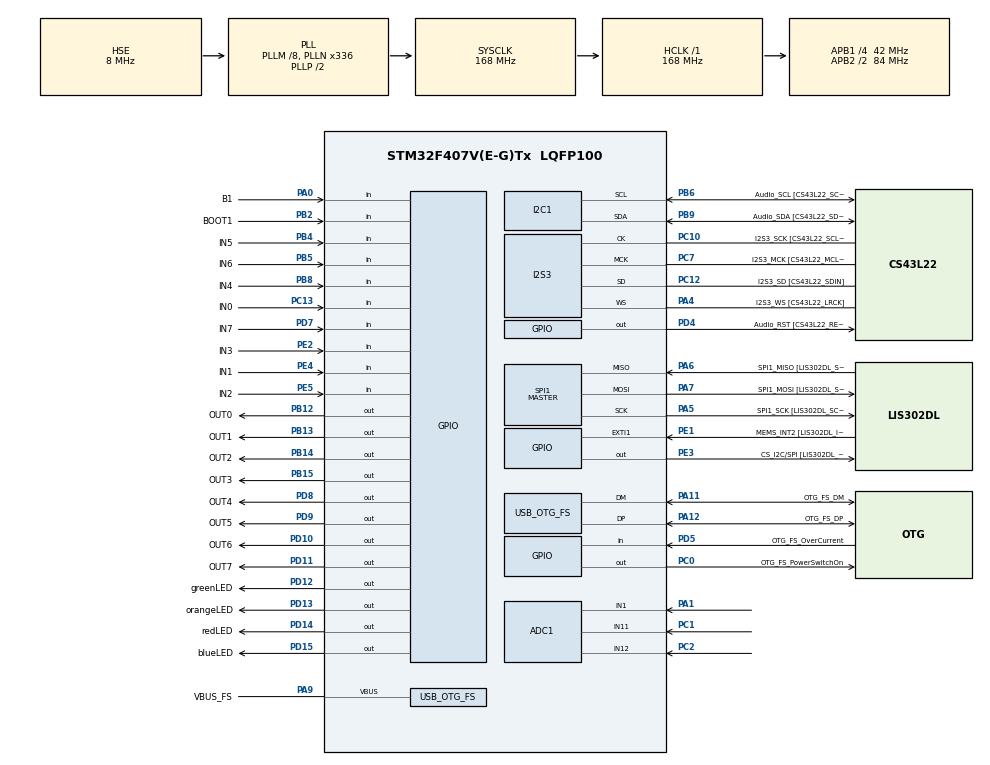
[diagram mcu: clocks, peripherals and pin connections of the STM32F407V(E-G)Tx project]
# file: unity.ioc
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ADC1.Channel-0\#ChannelRegularConversion=ADC_CHANNEL_1
ADC1.Channel-1\#ChannelRegularConversion=ADC_CHANNEL_11
ADC1.Channel-2\#ChannelRegularConversion=ADC_CHANNEL_12
ADC1.ContinuousConvMode=ENABLE
ADC1.DMAContinuousRequests=ENABLE
ADC1.NbrOfConversion=3
ADC1.NbrOfConversionFlag=1
ADC1.Rank-0\#ChannelRegularConversion=1
ADC1.Rank-1\#ChannelRegularConversion=2
ADC1.Rank-2\#ChannelRegularConversion=3
ADC1.SamplingTime-0\#ChannelRegularConversion=ADC_SAMPLETIME_84CYCLES
ADC1.SamplingTime-1\#ChannelRegularConversion=ADC_SAMPLETIME_84CYCLES
ADC1.SamplingTime-2\#ChannelRegularConversion=ADC_SAMPLETIME_84CYCLES
ADC1.master=1
Dma.ADC1.0.Direction=DMA_PERIPH_TO_MEMORY
Dma.ADC1.0.FIFOMode=DMA_FIFOMODE_ENABLE
Dma.ADC1.0.FIFOThreshold=DMA_FIFO_THRESHOLD_FULL
Dma.ADC1.0.Instance=DMA2_Stream0
Dma.ADC1.0.MemBurst=DMA_MBURST_SINGLE
Dma.ADC1.0.MemDataAlignment=DMA_MDATAALIGN_HALFWORD
Dma.ADC1.0.MemInc=DMA_MINC_ENABLE
Dma.ADC1.0.Mode=DMA_CIRCULAR
Dma.ADC1.0.PeriphBurst=DMA_PBURST_SINGLE
Dma.ADC1.0.PeriphDataAlignment=DMA_PDATAALIGN_HALFWORD
Dma.ADC1.0.PeriphInc=DMA_PINC_DISABLE
Dma.ADC1.0.Priority=DMA_PRIORITY_LOW
Dma.Request0=ADC1
I2S3.AudioFreq-Half_Duplex_Master=I2S_AUDIOFREQ_96K
I2S3.ErrorAudioFreq=-2.34 %
I2S3.ErrorAudioFreq-Half_Duplex_Master=0.8 %
I2S3.FullDuplexMode=I2S_FULLDUPLEXMODE_DISABLE
I2S3.Instance=SPI$Index
I2S3.RealAudioFreq=93.75 KHz
I2S3.RealAudioFreq-Half_Duplex_Master=96.774 KHz
I2S3.VirtualMode=I2S_MODE_MASTER
Mcu.Family=STM32F4
Mcu.Name=STM32F407V(E-G)Tx
Mcu.Package=LQFP100
NVIC.DMA2_Stream0_IRQn=true\:0\:0\:false\:false\:true\:false\:true
NVIC.OTG_FS_IRQn=true\:0\:0\:false\:false\:true\:true\:true
NVIC.PriorityGroup=NVIC_PRIORITYGROUP_0
PA0-WKUP.GPIO_Label=B1
PA0-WKUP.Signal=GPIO_Input
PA1.Signal=ADCx_IN1
PA10.GPIO_Label=OTG_FS_ID
PA10.GPIO_Mode=GPIO_MODE_AF_PP
PA10.GPIO_PuPd=GPIO_NOPULL
PA10.GPIO_Speed=GPIO_SPEED_FREQ_LOW
PA10.Signal=USB_OTG_FS_ID
PA11.GPIO_Label=OTG_FS_DM
PA11.GPIO_Mode=GPIO_MODE_AF_PP
PA11.GPIO_PuPd=GPIO_NOPULL
PA11.GPIO_Speed=GPIO_SPEED_FREQ_LOW
PA11.Mode=Device_Only
PA11.Signal=USB_OTG_FS_DM
PA12.GPIO_Label=OTG_FS_DP
PA12.GPIO_Mode=GPIO_MODE_AF_PP
PA12.GPIO_PuPd=GPIO_NOPULL
PA12.GPIO_Speed=GPIO_SPEED_FREQ_LOW
PA12.Mode=Device_Only
PA12.Signal=USB_OTG_FS_DP
PA13.GPIO_Label=SWDIO
PA13.Mode=Serial_Wire
PA13.Signal=SYS_JTMS-SWDIO
PA14.GPIO_Label=SWCLK
PA14.Mode=Serial_Wire
PA14.Signal=SYS_JTCK-SWCLK
PA4.GPIO_Label=I2S3_WS [CS43L22_LRCK]
PA4.GPIO_Mode=GPIO_MODE_AF_PP
PA4.GPIO_PuPd=GPIO_NOPULL
PA4.GPIO_Speed=GPIO_SPEED_FREQ_LOW
PA4.Mode=Half_Duplex_Master
PA4.Signal=I2S3_WS
PA5.GPIO_Label=SPI1_SCK [LIS302DL_SCL/SPC]
PA5.GPIO_Mode=GPIO_MODE_AF_PP
PA5.GPIO_PuPd=GPIO_NOPULL
PA5.GPIO_Speed=GPIO_SPEED_FREQ_LOW
PA5.Mode=Full_Duplex_Master
PA5.Signal=SPI1_SCK
PA6.GPIO_Label=SPI1_MISO [LIS302DL_SDO]
PA6.GPIO_Mode=GPIO_MODE_AF_PP
PA6.GPIO_PuPd=GPIO_NOPULL
PA6.GPIO_Speed=GPIO_SPEED_FREQ_LOW
PA6.Mode=Full_Duplex_Master
PA6.Signal=SPI1_MISO
PA7.GPIO_Label=SPI1_MOSI [LIS302DL_SDA/SDI/SDO]
PA7.GPIO_Mode=GPIO_MODE_AF_PP
PA7.GPIO_PuPd=GPIO_NOPULL
PA7.GPIO_Speed=GPIO_SPEED_FREQ_LOW
PA7.Mode=Full_Duplex_Master
PA7.Signal=SPI1_MOSI
PA9.GPIO_Label=VBUS_FS
PA9.GPIO_Mode=GPIO_MODE_INPUT
PA9.GPIO_PuPd=GPIO_NOPULL
PA9.Mode=Activate_VBUS
PA9.Signal=USB_OTG_FS_VBUS
PB10.GPIO_Label=CLK_IN [MP45DT02_CLK]
PB10.GPIO_Mode=GPIO_MODE_AF_PP
PB10.GPIO_PuPd=GPIO_NOPULL
PB10.GPIO_Speed=GPIO_SPEED_FREQ_LOW
PB10.Signal=I2S2_CK
PB12.GPIO_Label=OUT0
PB12.Signal=GPIO_Output
PB13.GPIO_Label=OUT1
PB13.Signal=GPIO_Output
PB14.GPIO_Label=OUT2
PB14.Signal=GPIO_Output
PB15.GPIO_Label=OUT3
PB15.Signal=GPIO_Output
PB2.GPIO_Label=BOOT1
PB2.GPIO_Mode=GPIO_MODE_INPUT
PB2.GPIO_PuPd=GPIO_NOPULL
PB2.Signal=GPIO_Input
PB3.GPIO_Label=SWO
PB3.Signal=SYS_JTDO-SWO
PB4.GPIO_Label=IN5
PB4.Signal=GPIO_Input
PB5.GPIO_Label=IN6
PB5.Signal=GPIO_Input
PB6.GPIO_Label=Audio_SCL [CS43L22_SCL]
PB6.GPIO_Mode=GPIO_MODE_AF_OD
PB6.GPIO_PuPd=GPIO_NOPULL
PB6.GPIO_Speed=GPIO_SPEED_FREQ_LOW
PB6.Mode=I2C
PB6.Signal=I2C1_SCL
PB8.GPIO_Label=IN4
PB8.Signal=GPIO_Input
PB9.GPIO_Label=Audio_SDA [CS43L22_SDA]
PB9.GPIO_Mode=GPIO_MODE_AF_OD
PB9.GPIO_PuPd=GPIO_NOPULL
PB9.GPIO_Speed=GPIO_SPEED_FREQ_LOW
PB9.Mode=I2C
PB9.Signal=I2C1_SDA
PC0.GPIO_Label=OTG_FS_PowerSwitchOn
PC0.GPIO_PuPd=GPIO_NOPULL
PC0.GPIO_Speed=GPIO_SPEED_FREQ_LOW
PC0.PinState=GPIO_PIN_SET
PC0.Signal=GPIO_Output
PC1.Signal=ADCx_IN11
PC10.GPIO_Label=I2S3_SCK [CS43L22_SCLK]
PC10.GPIO_Mode=GPIO_MODE_AF_PP
PC10.GPIO_PuPd=GPIO_NOPULL
PC10.GPIO_Speed=GPIO_SPEED_FREQ_LOW
PC10.Mode=Half_Duplex_Master
PC10.Signal=I2S3_CK
PC12.GPIO_Label=I2S3_SD [CS43L22_SDIN]
PC12.GPIO_Mode=GPIO_MODE_AF_PP
PC12.GPIO_PuPd=GPIO_NOPULL
PC12.GPIO_Speed=GPIO_SPEED_FREQ_LOW
PC12.Mode=Half_Duplex_Master
PC12.Signal=I2S3_SD
PC13-ANTI_TAMP.GPIO_Label=IN0
PC13-ANTI_TAMP.Signal=GPIO_Input
PC14-OSC32_IN.GPIO_Label=PC14-OSC32_IN
PC14-OSC32_IN.Mode=LSE-External-Oscillator
PC14-OSC32_IN.Signal=RCC_OSC32_IN
PC15-OSC32_OUT.GPIO_Label=PC15-OSC32_OUT
PC15-OSC32_OUT.Mode=LSE-External-Oscillator
PC15-OSC32_OUT.Signal=RCC_OSC32_OUT
PC2.Signal=ADCx_IN12
PC3.GPIO_Label=PDM_OUT [MP45DT02_DOUT]
PC3.GPIO_Mode=GPIO_MODE_AF_PP
PC3.GPIO_PuPd=GPIO_NOPULL
PC3.GPIO_Speed=GPIO_SPEED_FREQ_LOW
PC3.Signal=I2S2_SD
PC7.GPIO_Label=I2S3_MCK [CS43L22_MCLK]
PC7.GPIO_Mode=GPIO_MODE_AF_PP
PC7.GPIO_PuPd=GPIO_NOPULL
PC7.GPIO_Speed=GPIO_SPEED_FREQ_LOW
PC7.Mode=Master_Clock_Activated
PC7.Signal=I2S3_MCK
PD10.GPIO_Label=OUT6
PD10.Signal=GPIO_Output
PD11.GPIO_Label=OUT7
PD11.Signal=GPIO_Output
PD12.GPIO_Label=greenLED
PD12.GPIO_PuPd=GPIO_NOPULL
PD12.GPIO_Speed=GPIO_SPEED_FREQ_LOW
PD12.Signal=GPIO_Output
PD13.GPIO_Label=orangeLED
PD13.GPIO_PuPd=GPIO_NOPULL
PD13.GPIO_Speed=GPIO_SPEED_FREQ_LOW
PD13.Signal=GPIO_Output
PD14.GPIO_Label=redLED
PD14.GPIO_PuPd=GPIO_NOPULL
PD14.GPIO_Speed=GPIO_SPEED_FREQ_LOW
PD14.Signal=GPIO_Output
PD15.GPIO_Label=blueLED
PD15.Signal=GPIO_Output
PD4.GPIO_Label=Audio_RST [CS43L22_RESET]
PD4.GPIO_PuPd=GPIO_NOPULL
PD4.GPIO_Speed=GPIO_SPEED_FREQ_LOW
PD4.Signal=GPIO_Output
PD5.GPIO_Label=OTG_FS_OverCurrent
PD5.GPIO_Mode=GPIO_MODE_INPUT
PD5.GPIO_PuPd=GPIO_NOPULL
PD5.Signal=GPIO_Input
PD7.GPIO_Label=IN7
PD7.Signal=GPIO_Input
PD8.GPIO_Label=OUT4
PD8.Signal=GPIO_Output
PD9.GPIO_Label=OUT5
PD9.Signal=GPIO_Output
PE1.GPIO_Label=MEMS_INT2 [LIS302DL_INT2]
PE1.GPIO_ModeDefaultEXTI=GPIO_MODE_EVT_RISING
PE1.GPIO_PuPd=GPIO_NOPULL
PE1.Signal=GPXTI1
PE2.GPIO_Label=IN3
PE2.Signal=GPIO_Input
PE3.GPIO_Label=CS_I2C/SPI [LIS302DL_CS_I2C/SPI]
PE3.GPIO_PuPd=GPIO_NOPULL
PE3.GPIO_Speed=GPIO_SPEED_FREQ_LOW
PE3.Signal=GPIO_Output
PE4.GPIO_Label=IN1
PE4.Signal=GPIO_Input
PE5.GPIO_Label=IN2
PE5.Signal=GPIO_Input
PH0-OSC_IN.GPIO_Label=PH0-OSC_IN
PH0-OSC_IN.Mode=HSE-External-Oscillator
PH0-OSC_IN.Signal=RCC_OSC_IN
PH1-OSC_OUT.GPIO_Label=PH1-OSC_OUT
PH1-OSC_OUT.Mode=HSE-External-Oscillator
PH1-OSC_OUT.Signal=RCC_OSC_OUT
ProjectManager.HeapSize=0x200
ProjectManager.StackSize=0x400
ProjectManager.TargetToolchain=STM32CubeIDE
RCC.48MHZClocksFreq_Value=48000000
RCC.AHBFreq_Value=168000000
RCC.APB1CLKDivider=RCC_HCLK_DIV4
RCC.APB1Freq_Value=42000000
RCC.APB1TimFreq_Value=84000000
RCC.APB2CLKDivider=RCC_HCLK_DIV2
RCC.APB2Freq_Value=84000000
RCC.APB2TimFreq_Value=168000000
RCC.CortexFreq_Value=168000000
RCC.HCLKFreq_Value=168000000
RCC.HSE_VALUE=8000000
RCC.HSI_VALUE=16000000
RCC.PLLM=8
RCC.PLLN=336
RCC.PLLQ=7
RCC.SYSCLKFreq_VALUE=168000000
RCC.SYSCLKSource=RCC_SYSCLKSOURCE_PLLCLK
RCC.VCOOutputFreq_Value=336000000
SH.ADCx_IN1.0=ADC1_IN1,IN1
SH.ADCx_IN11.0=ADC1_IN11,IN11
SH.ADCx_IN12.0=ADC1_IN12,IN12
SPI1.BaudRatePrescaler-Full_Duplex_Master=SPI_BAUDRATEPRESCALER_2
SPI1.CalculateBaudRate-Full_Duplex_Master=42.0 MBits/s
SPI1.Direction=SPI_DIRECTION_2LINES
SPI1.Mode=SPI_MODE_MASTER
SPI1.Mode-Full_Duplex_Master=SPI_MODE_MASTER
SPI1.VirtualType=VM_MASTER
USB_DEVICE.CLASS_NAME_FS=CDC
USB_DEVICE.VirtualMode-CDC_FS=Cdc
USB_DEVICE.VirtualModeFS=Cdc_FS
USB_OTG_FS.VirtualMode=Device_Only
VP_USB_DEVICE_VS_USB_DEVICE_CDC_FS.Mode=CDC_FS
board=STM32F407G-DISC1

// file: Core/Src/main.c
/* USER CODE BEGIN Header */
/**
  ******************************************************************************
  * @file           : main.c
  * @brief          : Main program body
  ******************************************************************************
  * @attention
  *
  * <h2><center>&copy; Copyright (c) 2020 STMicroelectronics.
  * All rights reserved.</center></h2>
  *
  * This software component is licensed by ST under Ultimate Liberty license
  * SLA0044, the "License"; You may not use this file except in compliance with
  * the License. You may obtain a copy of the License at:
  *                             www.st.com/SLA0044
  *
  ******************************************************************************
  */
/* USER CODE END Header */
#include "main.h"
#include "usb_device.h"

/* USER CODE BEGIN Includes */
#include "stm32f4_discovery_accelerometer.h"
#include "usbd_cdc.h"
#include "usbd_cdc_if.h"
/* USER CODE END Includes */

ADC_HandleTypeDef hadc1;
DMA_HandleTypeDef hdma_adc1;

I2C_HandleTypeDef hi2c1;

I2S_HandleTypeDef hi2s3;

SPI_HandleTypeDef hspi1;

/* USER CODE BEGIN PV */

int16_t XYZ[3] = { 0 };
uint16_t adcValues[3];
int8_t inputPort[8];

#define packetLength  44
#define rxSerialBytes 18
int16_t rxUSB = 15;
uint8_t packet[packetLength+1] = {0}; //null needed at end for string function
int8_t rxBuf[rxSerialBytes] = {0};

uint32_t currentTicks = 0;
uint8_t packetTxTime = 20; //mS tx time between packets

/* USER CODE END PV */

void SystemClock_Config(void);
static void MX_GPIO_Init(void);
static void MX_DMA_Init(void);
static void MX_I2C1_Init(void);
static void MX_I2S3_Init(void);
static void MX_SPI1_Init(void);
static void MX_ADC1_Init(void);
/* USER CODE BEGIN PFP */
void parseRx(void);
/* USER CODE END PFP */

int main(void)
{
  /* USER CODE BEGIN 1 */
 	uint16_t count=0;
	uint16_t checksum=0;
  /* USER CODE END 1 */

  /* MCU Configuration--------------------------------------------------------*/

  /* Reset of all peripherals, Initializes the Flash interface and the Systick. */
  HAL_Init();

  /* Configure the system clock */
  SystemClock_Config();

  /* Initialize all configured peripherals */
  MX_GPIO_Init();
  MX_DMA_Init();
  MX_I2C1_Init();
  MX_I2S3_Init();
  MX_SPI1_Init();
  MX_ADC1_Init();
  MX_USB_DEVICE_Init();
  /* USER CODE BEGIN 2 */
  BSP_ACCELERO_Init();
  HAL_ADC_Start_DMA(&hadc1, adcValues, sizeof(uint16_t)*3);
  /* USER CODE END 2 */

  /* Infinite loop */
  /* USER CODE BEGIN WHILE */
  while (1)
  {
	if(uwTick - currentTicks >= packetTxTime)
	{
	currentTicks = uwTick; //update time

	checksum=0;

	BSP_ACCELERO_GetXYZ(XYZ);
    /* USER CODE END WHILE */

    /* USER CODE BEGIN 3 */

	  sprintf(packet, "###%03d%04X%04X%04X", (uint16_t)count,(uint16_t)XYZ[0], (uint16_t)XYZ[1], (uint16_t)XYZ[2]);

//	  printf("X: %0.2f\tY: %0.2f\tZ: %0.2f\n", (float)XYZ[0], (float)XYZ[1], (float)XYZ[2]);

	  //3 ADCs
	  sprintf(packet + 18, "%04d%04d%04d", (uint16_t)adcValues[0],(uint16_t)adcValues[1],(uint16_t)adcValues[2]);

	  //8 Digital inputs
	  inputPort[7] = (uint8_t)HAL_GPIO_ReadPin(IN7_GPIO_Port,IN7_Pin);
	  inputPort[6] = (uint8_t)HAL_GPIO_ReadPin(IN6_GPIO_Port,IN6_Pin);
	  inputPort[5] = (uint8_t)HAL_GPIO_ReadPin(IN5_GPIO_Port,IN5_Pin);
	  inputPort[4] = (uint8_t)HAL_GPIO_ReadPin(IN4_GPIO_Port,IN4_Pin);
	  inputPort[3] = (uint8_t)HAL_GPIO_ReadPin(IN3_GPIO_Port,IN3_Pin);
	  inputPort[2] = (uint8_t)HAL_GPIO_ReadPin(IN2_GPIO_Port,IN2_Pin);
	  inputPort[1] = (uint8_t)HAL_GPIO_ReadPin(IN1_GPIO_Port,IN1_Pin);
	  inputPort[0] = (uint8_t)HAL_GPIO_ReadPin(IN0_GPIO_Port,IN0_Pin);

	  //8 digital inputs
	  sprintf(packet + 30, "%0d", inputPort[7]); //strlen(myData)
	  sprintf(packet + 31, "%0d", inputPort[6]);
	  sprintf(packet + 32, "%0d", inputPort[5]);
	  sprintf(packet + 33, "%0d", inputPort[4]);
	  sprintf(packet + 34, "%0d", inputPort[3]);
	  sprintf(packet + 35, "%0d", inputPort[2]);
	  sprintf(packet + 36, "%0d", inputPort[1]);
	  sprintf(packet + 37, "%0d", inputPort[0]);

	  //Blue Button
	  sprintf(packet + 38, "%0d", HAL_GPIO_ReadPin(B1_GPIO_Port,  B1_Pin));

	  //calculate checksum
	  for(int loop=3; loop<=strlen(packet); loop++)
	  {
		  checksum += packet[loop];
	  }
	  checksum %=1000;	//3 digits
	  sprintf(packet + 39, "%03d\r\n", checksum);

	  CDC_Transmit_FS(packet, packetLength);  //micro usb 		-- strlen((const char*)myData)

//	  HAL_UART_Transmit(&huart2, packet, packetLength, 500); //mini usb uart to stlink 	-- strlen((const char*)myData)
//	  HAL_UART_Transmit(&huart6, packet, packetLength, 500); //PC6 PC7 - connect to nodemcu
	  //printf("%s", myData);  //semihosting - console
	  count++;
	  count%=1000;	//000-999
	}
	  parseRx();

	 // HAL_Delay(1);	//20mS till next tx - was 50
  }
  /* USER CODE END 3 */
}

void SystemClock_Config(void)
{
  RCC_OscInitTypeDef RCC_OscInitStruct = {0};
  RCC_ClkInitTypeDef RCC_ClkInitStruct = {0};
  RCC_PeriphCLKInitTypeDef PeriphClkInitStruct = {0};

  /** Configure the main internal regulator output voltage
  */
  __HAL_RCC_PWR_CLK_ENABLE();
  __HAL_PWR_VOLTAGESCALING_CONFIG(PWR_REGULATOR_VOLTAGE_SCALE1);
  /** Initializes the RCC Oscillators according to the specified parameters
  * in the RCC_OscInitTypeDef structure.
  */
  RCC_OscInitStruct.OscillatorType = RCC_OSCILLATORTYPE_HSE;
  RCC_OscInitStruct.HSEState = RCC_HSE_ON;
  RCC_OscInitStruct.PLL.PLLState = RCC_PLL_ON;
  RCC_OscInitStruct.PLL.PLLSource = RCC_PLLSOURCE_HSE;
  RCC_OscInitStruct.PLL.PLLM = 8;
  RCC_OscInitStruct.PLL.PLLN = 336;
  RCC_OscInitStruct.PLL.PLLP = RCC_PLLP_DIV2;
  RCC_OscInitStruct.PLL.PLLQ = 7;
  if (HAL_RCC_OscConfig(&RCC_OscInitStruct) != HAL_OK)
  {
    Error_Handler();
  }
  /** Initializes the CPU, AHB and APB buses clocks
  */
  RCC_ClkInitStruct.ClockType = RCC_CLOCKTYPE_HCLK|RCC_CLOCKTYPE_SYSCLK
                              |RCC_CLOCKTYPE_PCLK1|RCC_CLOCKTYPE_PCLK2;
  RCC_ClkInitStruct.SYSCLKSource = RCC_SYSCLKSOURCE_PLLCLK;
  RCC_ClkInitStruct.AHBCLKDivider = RCC_SYSCLK_DIV1;
  RCC_ClkInitStruct.APB1CLKDivider = RCC_HCLK_DIV4;
  RCC_ClkInitStruct.APB2CLKDivider = RCC_HCLK_DIV2;

  if (HAL_RCC_ClockConfig(&RCC_ClkInitStruct, FLASH_LATENCY_5) != HAL_OK)
  {
    Error_Handler();
  }
  PeriphClkInitStruct.PeriphClockSelection = RCC_PERIPHCLK_I2S;
  PeriphClkInitStruct.PLLI2S.PLLI2SN = 192;
  PeriphClkInitStruct.PLLI2S.PLLI2SR = 2;
  if (HAL_RCCEx_PeriphCLKConfig(&PeriphClkInitStruct) != HAL_OK)
  {
    Error_Handler();
  }
}

static void MX_ADC1_Init(void)
{

  ADC_ChannelConfTypeDef sConfig = {0};

  /** Configure the global features of the ADC (Clock, Resolution, Data Alignment and number of conversion)
  */
  hadc1.Instance = ADC1;
  hadc1.Init.ClockPrescaler = ADC_CLOCK_SYNC_PCLK_DIV4;
  hadc1.Init.Resolution = ADC_RESOLUTION_12B;
  hadc1.Init.ScanConvMode = ENABLE;
  hadc1.Init.ContinuousConvMode = ENABLE;
  hadc1.Init.DiscontinuousConvMode = DISABLE;
  hadc1.Init.ExternalTrigConvEdge = ADC_EXTERNALTRIGCONVEDGE_NONE;
  hadc1.Init.ExternalTrigConv = ADC_SOFTWARE_START;
  hadc1.Init.DataAlign = ADC_DATAALIGN_RIGHT;
  hadc1.Init.NbrOfConversion = 3;
  hadc1.Init.DMAContinuousRequests = ENABLE;
  hadc1.Init.EOCSelection = ADC_EOC_SINGLE_CONV;
  if (HAL_ADC_Init(&hadc1) != HAL_OK)
  {
    Error_Handler();
  }
  /** Configure for the selected ADC regular channel its corresponding rank in the sequencer and its sample time.
  */
  sConfig.Channel = ADC_CHANNEL_1;
  sConfig.Rank = 1;
  sConfig.SamplingTime = ADC_SAMPLETIME_84CYCLES;
  if (HAL_ADC_ConfigChannel(&hadc1, &sConfig) != HAL_OK)
  {
    Error_Handler();
  }
  /** Configure for the selected ADC regular channel its corresponding rank in the sequencer and its sample time.
  */
  sConfig.Channel = ADC_CHANNEL_11;
  sConfig.Rank = 2;
  if (HAL_ADC_ConfigChannel(&hadc1, &sConfig) != HAL_OK)
  {
    Error_Handler();
  }
  /** Configure for the selected ADC regular channel its corresponding rank in the sequencer and its sample time.
  */
  sConfig.Channel = ADC_CHANNEL_12;
  sConfig.Rank = 3;
  if (HAL_ADC_ConfigChannel(&hadc1, &sConfig) != HAL_OK)
  {
    Error_Handler();
  }

}

static void MX_I2C1_Init(void)
{

  hi2c1.Instance = I2C1;
  hi2c1.Init.ClockSpeed = 100000;
  hi2c1.Init.DutyCycle = I2C_DUTYCYCLE_2;
  hi2c1.Init.OwnAddress1 = 0;
  hi2c1.Init.AddressingMode = I2C_ADDRESSINGMODE_7BIT;
  hi2c1.Init.DualAddressMode = I2C_DUALADDRESS_DISABLE;
  hi2c1.Init.OwnAddress2 = 0;
  hi2c1.Init.GeneralCallMode = I2C_GENERALCALL_DISABLE;
  hi2c1.Init.NoStretchMode = I2C_NOSTRETCH_DISABLE;
  if (HAL_I2C_Init(&hi2c1) != HAL_OK)
  {
    Error_Handler();
  }

}

static void MX_I2S3_Init(void)
{

  hi2s3.Instance = SPI3;
  hi2s3.Init.Mode = I2S_MODE_MASTER_TX;
  hi2s3.Init.Standard = I2S_STANDARD_PHILIPS;
  hi2s3.Init.DataFormat = I2S_DATAFORMAT_16B;
  hi2s3.Init.MCLKOutput = I2S_MCLKOUTPUT_ENABLE;
  hi2s3.Init.AudioFreq = I2S_AUDIOFREQ_96K;
  hi2s3.Init.CPOL = I2S_CPOL_LOW;
  hi2s3.Init.ClockSource = I2S_CLOCK_PLL;
  hi2s3.Init.FullDuplexMode = I2S_FULLDUPLEXMODE_DISABLE;
  if (HAL_I2S_Init(&hi2s3) != HAL_OK)
  {
    Error_Handler();
  }

}

static void MX_SPI1_Init(void)
{

  /* SPI1 parameter configuration*/
  hspi1.Instance = SPI1;
  hspi1.Init.Mode = SPI_MODE_MASTER;
  hspi1.Init.Direction = SPI_DIRECTION_2LINES;
  hspi1.Init.DataSize = SPI_DATASIZE_8BIT;
  hspi1.Init.CLKPolarity = SPI_POLARITY_LOW;
  hspi1.Init.CLKPhase = SPI_PHASE_1EDGE;
  hspi1.Init.NSS = SPI_NSS_SOFT;
  hspi1.Init.BaudRatePrescaler = SPI_BAUDRATEPRESCALER_2;
  hspi1.Init.FirstBit = SPI_FIRSTBIT_MSB;
  hspi1.Init.TIMode = SPI_TIMODE_DISABLE;
  hspi1.Init.CRCCalculation = SPI_CRCCALCULATION_DISABLE;
  hspi1.Init.CRCPolynomial = 10;
  if (HAL_SPI_Init(&hspi1) != HAL_OK)
  {
    Error_Handler();
  }

}

static void MX_DMA_Init(void)
{

  /* DMA controller clock enable */
  __HAL_RCC_DMA2_CLK_ENABLE();

  /* DMA interrupt init */
  /* DMA2_Stream0_IRQn interrupt configuration */
  HAL_NVIC_SetPriority(DMA2_Stream0_IRQn, 0, 0);
  HAL_NVIC_EnableIRQ(DMA2_Stream0_IRQn);

}

static void MX_GPIO_Init(void)
{
  GPIO_InitTypeDef GPIO_InitStruct = {0};

  /* GPIO Ports Clock Enable */
  __HAL_RCC_GPIOE_CLK_ENABLE();
  __HAL_RCC_GPIOC_CLK_ENABLE();
  __HAL_RCC_GPIOH_CLK_ENABLE();
  __HAL_RCC_GPIOA_CLK_ENABLE();
  __HAL_RCC_GPIOB_CLK_ENABLE();
  __HAL_RCC_GPIOD_CLK_ENABLE();

  /*Configure GPIO pin Output Level */
  HAL_GPIO_WritePin(CS_I2C_SPI_GPIO_Port, CS_I2C_SPI_Pin, GPIO_PIN_RESET);

  /*Configure GPIO pin Output Level */
  HAL_GPIO_WritePin(OTG_FS_PowerSwitchOn_GPIO_Port, OTG_FS_PowerSwitchOn_Pin, GPIO_PIN_SET);

  /*Configure GPIO pin Output Level */
  HAL_GPIO_WritePin(GPIOB, OUT0_Pin|OUT1_Pin|OUT2_Pin|OUT3_Pin, GPIO_PIN_RESET);

  /*Configure GPIO pin Output Level */
  HAL_GPIO_WritePin(GPIOD, OUT4_Pin|OUT5_Pin|OUT6_Pin|OUT7_Pin
                          |greenLED_Pin|orangeLED_Pin|redLED_Pin|blueLED_Pin
                          |Audio_RST_Pin, GPIO_PIN_RESET);

  /*Configure GPIO pins : IN3_Pin IN1_Pin IN2_Pin */
  GPIO_InitStruct.Pin = IN3_Pin|IN1_Pin|IN2_Pin;
  GPIO_InitStruct.Mode = GPIO_MODE_INPUT;
  GPIO_InitStruct.Pull = GPIO_NOPULL;
  HAL_GPIO_Init(GPIOE, &GPIO_InitStruct);

  /*Configure GPIO pin : CS_I2C_SPI_Pin */
  GPIO_InitStruct.Pin = CS_I2C_SPI_Pin;
  GPIO_InitStruct.Mode = GPIO_MODE_OUTPUT_PP;
  GPIO_InitStruct.Pull = GPIO_NOPULL;
  GPIO_InitStruct.Speed = GPIO_SPEED_FREQ_LOW;
  HAL_GPIO_Init(CS_I2C_SPI_GPIO_Port, &GPIO_InitStruct);

  /*Configure GPIO pin : IN0_Pin */
  GPIO_InitStruct.Pin = IN0_Pin;
  GPIO_InitStruct.Mode = GPIO_MODE_INPUT;
  GPIO_InitStruct.Pull = GPIO_NOPULL;
  HAL_GPIO_Init(IN0_GPIO_Port, &GPIO_InitStruct);

  /*Configure GPIO pin : OTG_FS_PowerSwitchOn_Pin */
  GPIO_InitStruct.Pin = OTG_FS_PowerSwitchOn_Pin;
  GPIO_InitStruct.Mode = GPIO_MODE_OUTPUT_PP;
  GPIO_InitStruct.Pull = GPIO_NOPULL;
  GPIO_InitStruct.Speed = GPIO_SPEED_FREQ_LOW;
  HAL_GPIO_Init(OTG_FS_PowerSwitchOn_GPIO_Port, &GPIO_InitStruct);

  /*Configure GPIO pin : PDM_OUT_Pin */
  GPIO_InitStruct.Pin = PDM_OUT_Pin;
  GPIO_InitStruct.Mode = GPIO_MODE_AF_PP;
  GPIO_InitStruct.Pull = GPIO_NOPULL;
  GPIO_InitStruct.Speed = GPIO_SPEED_FREQ_LOW;
  GPIO_InitStruct.Alternate = GPIO_AF5_SPI2;
  HAL_GPIO_Init(PDM_OUT_GPIO_Port, &GPIO_InitStruct);

  /*Configure GPIO pin : B1_Pin */
  GPIO_InitStruct.Pin = B1_Pin;
  GPIO_InitStruct.Mode = GPIO_MODE_INPUT;
  GPIO_InitStruct.Pull = GPIO_NOPULL;
  HAL_GPIO_Init(B1_GPIO_Port, &GPIO_InitStruct);

  /*Configure GPIO pins : BOOT1_Pin IN5_Pin IN6_Pin IN4_Pin */
  GPIO_InitStruct.Pin = BOOT1_Pin|IN5_Pin|IN6_Pin|IN4_Pin;
  GPIO_InitStruct.Mode = GPIO_MODE_INPUT;
  GPIO_InitStruct.Pull = GPIO_NOPULL;
  HAL_GPIO_Init(GPIOB, &GPIO_InitStruct);

  /*Configure GPIO pin : CLK_IN_Pin */
  GPIO_InitStruct.Pin = CLK_IN_Pin;
  GPIO_InitStruct.Mode = GPIO_MODE_AF_PP;
  GPIO_InitStruct.Pull = GPIO_NOPULL;
  GPIO_InitStruct.Speed = GPIO_SPEED_FREQ_LOW;
  GPIO_InitStruct.Alternate = GPIO_AF5_SPI2;
  HAL_GPIO_Init(CLK_IN_GPIO_Port, &GPIO_InitStruct);

  /*Configure GPIO pins : OUT0_Pin OUT1_Pin OUT2_Pin OUT3_Pin */
  GPIO_InitStruct.Pin = OUT0_Pin|OUT1_Pin|OUT2_Pin|OUT3_Pin;
  GPIO_InitStruct.Mode = GPIO_MODE_OUTPUT_PP;
  GPIO_InitStruct.Pull = GPIO_NOPULL;
  GPIO_InitStruct.Speed = GPIO_SPEED_FREQ_LOW;
  HAL_GPIO_Init(GPIOB, &GPIO_InitStruct);

  /*Configure GPIO pins : OUT4_Pin OUT5_Pin OUT6_Pin OUT7_Pin
                           greenLED_Pin orangeLED_Pin redLED_Pin blueLED_Pin
                           Audio_RST_Pin */
  GPIO_InitStruct.Pin = OUT4_Pin|OUT5_Pin|OUT6_Pin|OUT7_Pin
                          |greenLED_Pin|orangeLED_Pin|redLED_Pin|blueLED_Pin
                          |Audio_RST_Pin;
  GPIO_InitStruct.Mode = GPIO_MODE_OUTPUT_PP;
  GPIO_InitStruct.Pull = GPIO_NOPULL;
  GPIO_InitStruct.Speed = GPIO_SPEED_FREQ_LOW;
  HAL_GPIO_Init(GPIOD, &GPIO_InitStruct);

  /*Configure GPIO pins : OTG_FS_OverCurrent_Pin IN7_Pin */
  GPIO_InitStruct.Pin = OTG_FS_OverCurrent_Pin|IN7_Pin;
  GPIO_InitStruct.Mode = GPIO_MODE_INPUT;
  GPIO_InitStruct.Pull = GPIO_NOPULL;
  HAL_GPIO_Init(GPIOD, &GPIO_InitStruct);

  /*Configure GPIO pin : MEMS_INT2_Pin */
  GPIO_InitStruct.Pin = MEMS_INT2_Pin;
  GPIO_InitStruct.Mode = GPIO_MODE_EVT_RISING;
  GPIO_InitStruct.Pull = GPIO_NOPULL;
  HAL_GPIO_Init(MEMS_INT2_GPIO_Port, &GPIO_InitStruct);

}

/* USER CODE BEGIN 4 */
void parseRx(void)
{

	  //HAL_UART_Receive(&huart2, receive_serial, 50, 500 );
	  if(rxBuf[0]!=0)
	  {
		  int state=0; //state machine
		  volatile int rxChecksum=0;
		  int calcChecksum=0;

//		  CDC_Transmit_FS(receive_serial, strlen((const char*)receive_serial));  //micro usb 		-- strlen((const char*)myData)
		  //HAL_UART_Transmit(&huart2, receive_serial, strlen((const char*)receive_serial), 500);
		  for(int loop=0; loop<rxSerialBytes; loop++)
		  {
			  switch(state)
			  {
			  case 0:
			  case 1:
			  case 2:
				  if(rxBuf[loop]=='#')
				  {
					  state++;
				  }
				  else
				  {
					  state=0;
				  }
				  break;
				  //digital outputs
			  case 3:
				  //checksum 576-588 with onboard LEDs, 00000000xxxx = 576-580
				  for(int count=3; count<15; count++)
				  {
					  calcChecksum+=rxBuf[count];
				  }
				  rxChecksum = (rxBuf[15]-'0') * 100;
				  rxChecksum += (rxBuf[16]-'0') * 10;
				  rxChecksum += (rxBuf[17]-'0');

				  if(calcChecksum==rxChecksum) //valid checksum?
				  {
				  HAL_GPIO_WritePin(OUT7_GPIO_Port, OUT7_Pin,rxBuf[loop]-'0'); 	//yes
				  state++;
				  }
				  else
				  {
					  state=0;	//no
				  }
				  break;
			  case 4:
				  HAL_GPIO_WritePin(OUT6_GPIO_Port, OUT6_Pin,rxBuf[loop]-'0');
				  state++;
				  break;
			  case 5:
				  HAL_GPIO_WritePin(OUT5_GPIO_Port, OUT5_Pin,rxBuf[loop]-'0');
				  state++;
				  break;
			  case 6:
				  HAL_GPIO_WritePin(OUT4_GPIO_Port, OUT4_Pin,rxBuf[loop]-'0');
				  state++;
				  break;
			  case 7:
				  HAL_GPIO_WritePin(OUT3_GPIO_Port, OUT3_Pin,rxBuf[loop]-'0');
				  state++;
				  break;
			  case 8:
				  HAL_GPIO_WritePin(OUT2_GPIO_Port, OUT2_Pin,rxBuf[loop]-'0');
				  state++;
				  break;
			  case 9:
				  HAL_GPIO_WritePin(OUT1_GPIO_Port, OUT1_Pin,rxBuf[loop]-'0');
				  state++;
				  break;
			  case 10:
				  HAL_GPIO_WritePin(OUT0_GPIO_Port, OUT0_Pin,rxBuf[loop]-'0');
				  state++;
				  break;
			  case 11:
				  HAL_GPIO_WritePin(blueLED_GPIO_Port, blueLED_Pin, rxBuf[loop]-'0');
				  state++;
				  break;
			  case 12:
				  HAL_GPIO_WritePin(redLED_GPIO_Port, redLED_Pin,rxBuf[loop]-'0');
				  state++;
				  break;
			  case 13:
				  HAL_GPIO_WritePin(orangeLED_GPIO_Port, orangeLED_Pin,rxBuf[loop]-'0');
				  state++;
				  break;
			  case 14:
				  HAL_GPIO_WritePin(greenLED_GPIO_Port, greenLED_Pin,rxBuf[loop]-'0');
				  state++;
				  break;

			  }

			  }

		  }

//	  rxBuf[0]=0;

}
/* USER CODE END 4 */

void Error_Handler(void)
{
}

/************************ (C) COPYRIGHT STMicroelectronics *****END OF FILE****/
